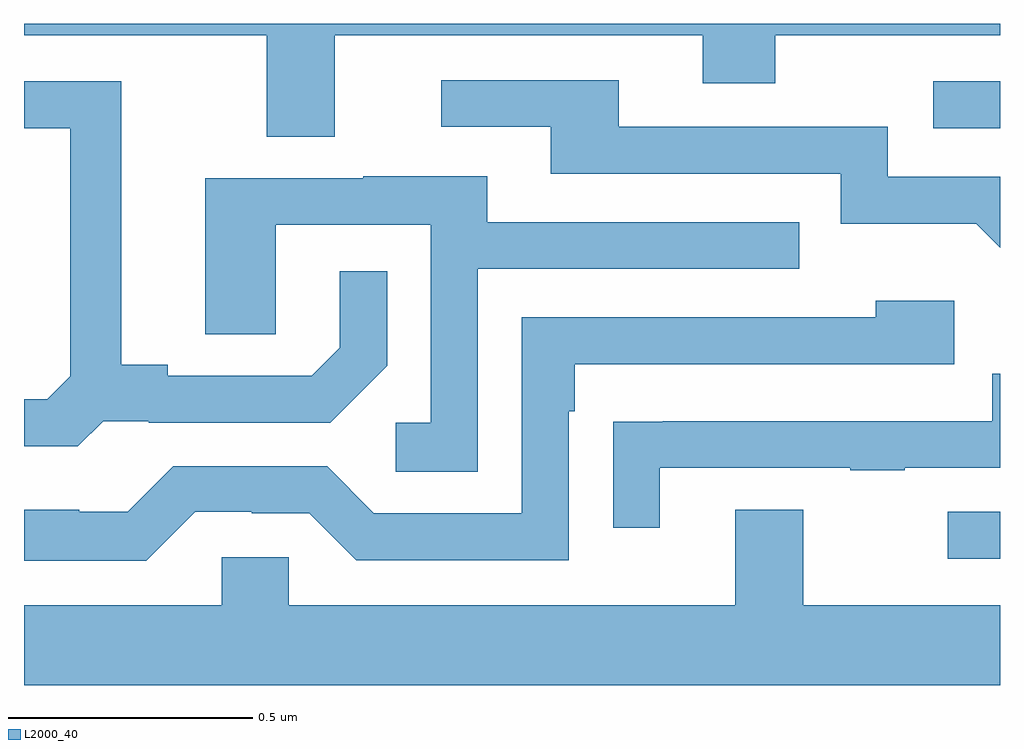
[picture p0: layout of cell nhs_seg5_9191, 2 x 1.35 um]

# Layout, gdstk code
import gdstk
lib = gdstk.Library(unit=1e-6, precision=1e-09)
def R(c, l, rs):  # rectangles x0, y0, x1, y1
    for r in rs: c.add(gdstk.rectangle(r[:2], r[2:], *l))
def P(c, l, *ps):  # polygons
    for p in ps: c.add(gdstk.Polygon(p, *l))
L2000_40 = (2000, 40)

nhs_seg5_9191 = lib.new_cell('nhs_seg5_9191')
R(nhs_seg5_9191, L2000_40, [(232.893,839.703,233,839.799), (232.863,840.585,233,840.681)])
P(nhs_seg5_9191, L2000_40, [(231.637,840.776),(232.391,840.776),(232.391,840.677),(232.539,840.677),(232.539,840.776),(233,840.776),(233,840.799),(231,840.799),(231,840.776),(231.497,840.776),(231.497,840.568),(231.637,840.568)],
  [(233,840.486),(232.77,840.486),(232.77,840.588),(232.219,840.588),(232.219,840.684),(231.855,840.684),(231.855,840.588),(232.079,840.588),(232.079,840.492),(232.674,840.492),(232.674,840.389),(232.951,840.389),(233,840.34)],
  [(231.162,839.985),(231.256,839.985),(231.256,839.982),(231.628,839.982),(231.744,840.098),(231.744,840.292),(231.647,840.292),(231.647,840.135),(231.59,840.078),(231.295,840.078),(231.295,840.101),(231.199,840.101),(231.199,840.681),(231,840.681),(231,840.585),(231.095,840.585),(231.095,840.077),(231.048,840.03),(231,840.03),(231,839.933),(231.11,839.933)],
  [(231.93,840.297),(232.589,840.297),(232.589,840.393),(231.949,840.393),(231.949,840.487),(231.695,840.487),(231.695,840.483),(231.371,840.483),(231.371,840.163),(231.516,840.163),(231.516,840.387),(231.834,840.387),(231.834,839.982),(231.762,839.982),(231.762,839.881),(231.93,839.881)],
  [(231.351,839.799),(231.467,839.799),(231.467,839.796),(231.585,839.796),(231.681,839.7),(232.116,839.7),(232.116,840.005),(232.129,840.005),(232.129,840.102),(232.906,840.102),(232.906,840.232),(232.745,840.232),(232.745,840.198),(232.02,840.198),(232.02,839.796),(231.717,839.796),(231.621,839.892),(231.306,839.892),(231.213,839.799),(231.113,839.799),(231.113,839.803),(231,839.803),(231,839.699),(231.251,839.699)],
  [(232.303,839.889),(232.693,839.889),(232.693,839.884),(232.805,839.884),(232.805,839.889),(233,839.889),(233,840.082),(232.984,840.082),(232.984,839.985),(232.309,839.985),(232.309,839.984),(232.207,839.984),(232.207,839.766),(232.303,839.766)],
  [(233,839.608),(232.597,839.608),(232.597,839.803),(232.457,839.803),(232.457,839.608),(231.543,839.608),(231.543,839.706),(231.405,839.706),(231.405,839.608),(231,839.608),(231,839.444),(233,839.444)])

lib.write_gds('nhs_seg5_9191.gds')
